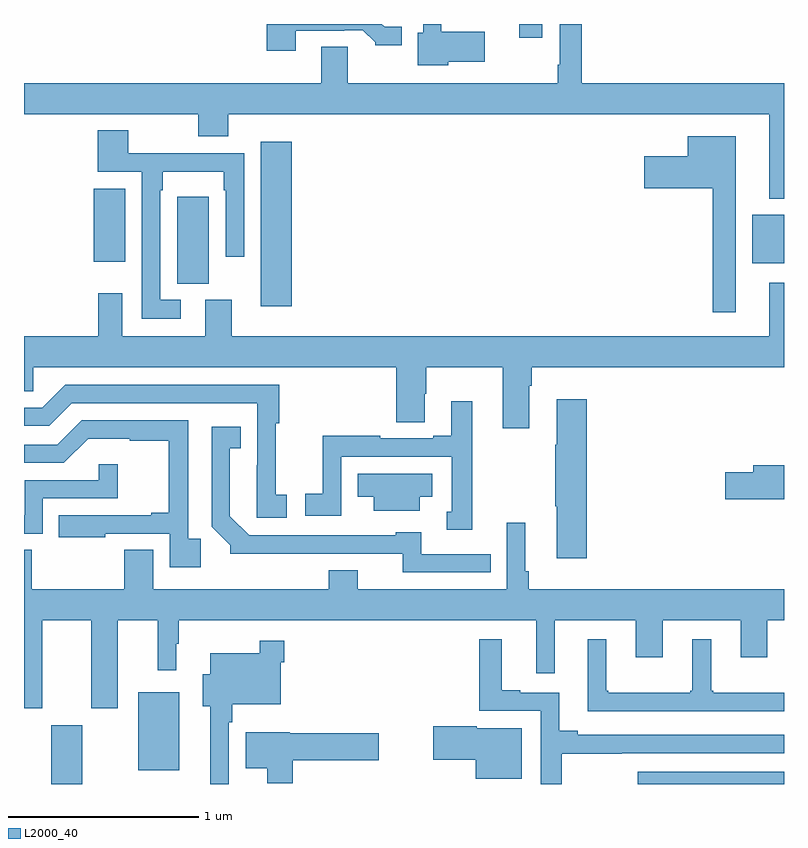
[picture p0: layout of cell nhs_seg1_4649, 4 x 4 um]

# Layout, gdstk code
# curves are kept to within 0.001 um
import gdstk
lib = gdstk.Library(unit=1e-6, precision=1e-09)
def R(c, l, rs):  # rectangles x0, y0, x1, y1
    for r in rs: c.add(gdstk.rectangle(r[:2], r[2:], *l))
def P(c, l, *ps):  # polygons
    for p in ps: c.add(gdstk.Polygon(p, *l))
L2000_40 = (2000, 40)

nhs_seg1_4649 = lib.new_cell('nhs_seg1_4649')
R(nhs_seg1_4649, L2000_40, [(363.143,556.199,363.307,556.507), (366.231,556.199,367,556.263), (363.602,556.271,363.817,556.681), (364.247,558.714,364.409,559.579), (363.806,558.833,363.973,559.291), (366.833,558.941,367,559.195), (363.368,558.947,363.532,559.333), (365.606,560.127,365.728,560.199)])
P(nhs_seg1_4649, L2000_40, [(367,559.888),(365.936,559.888),(365.936,560.199),(365.82,560.199),(365.82,559.984),(365.808,559.984),(365.808,559.888),(364.705,559.888),(364.705,560.078),(364.565,560.078),(364.565,559.888),(363,559.888),(363,559.724),(363.916,559.724),(363.916,559.607),(364.076,559.607),(364.076,559.724),(366.923,559.724),(366.923,559.28),(367,559.28)],
  [(365.232,560),(365.425,560),(365.425,560.158),(365.196,560.158),(365.196,560.199),(365.1,560.199),(365.1,560.154),(365.072,560.154),(365.072,559.982),(365.232,559.982)],
  [(364.429,560.163),(364.685,560.163),(364.685,560.166),(364.784,560.166),(364.848,560.102),(364.848,560.087),(364.987,560.087),(364.987,560.184),(364.899,560.184),(364.884,560.199),(364.277,560.199),(364.277,560.058),(364.429,560.058)],
  [(363.826,558.748),(363.717,558.748),(363.717,559.325),(363.73,559.325),(363.73,559.421),(364.05,559.421),(364.05,559.325),(364.062,559.325),(364.062,558.975),(364.158,558.975),(364.158,559.518),(363.814,559.518),(363.814,559.52),(363.549,559.52),(363.549,559.639),(363.389,559.639),(363.389,559.422),(363.621,559.422),(363.621,558.647),(363.826,558.647)],
  [(366.745,559.609),(366.494,559.609),(366.494,559.504),(366.264,559.504),(366.264,559.334),(366.624,559.334),(366.624,558.681),(366.745,558.681)],
  [(365.659,558.296),(365.672,558.296),(365.672,558.392),(367,558.392),(367,558.838),(366.923,558.838),(366.923,558.556),(364.093,558.556),(364.093,558.748),(363.953,558.748),(363.953,558.556),(363.517,558.556),(363.517,558.781),(363.392,558.781),(363.392,558.556),(363,558.556),(363,558.265),(363.048,558.265),(363.048,558.392),(364.958,558.392),(364.958,558.103),(365.11,558.103),(365.11,558.254),(365.118,558.254),(365.118,558.392),(365.519,558.392),(365.519,558.072),(365.659,558.072)],
  [(364.384,557.721),(364.326,557.721),(364.326,558.097),(364.343,558.097),(364.343,558.3),(363.216,558.3),(363.096,558.18),(363,558.18),(363,558.084),(363.132,558.084),(363.252,558.204),(364.227,558.204),(364.226,557.601),(364.384,557.601)],
  [(365.963,558.223),(365.804,558.223),(365.804,557.984),(365.797,557.984),(365.797,557.662),(365.804,557.662),(365.804,557.388),(365.963,557.388)],
  [(365.359,558.214),(365.249,558.214),(365.249,558.031),(365.153,558.031),(365.153,558.018),(364.874,558.018),(364.874,558.031),(364.573,558.031),(364.573,557.726),(364.479,557.726),(364.479,557.61),(364.671,557.61),(364.671,557.922),(365.25,557.922),(365.25,557.631),(365.225,557.631),(365.225,557.537),(365.359,557.537)],
  [(363.929,557.491),(363.864,557.491),(363.864,558.114),(363.303,558.114),(363.174,557.985),(363,557.985),(363,557.889),(363.21,557.889),(363.338,558.017),(363.557,558.017),(363.557,558.006),(363.763,558.006),(363.763,557.626),(363.671,557.626),(363.671,557.613),(363.184,557.613),(363.184,557.498),(363.427,557.498),(363.427,557.517),(363.768,557.517),(363.768,557.34),(363.929,557.34)],
  [(365.456,557.409),(365.092,557.409),(365.092,557.524),(364.956,557.524),(364.956,557.508),(364.185,557.508),(364.084,557.609),(364.084,557.966),(364.142,557.966),(364.142,558.079),(363.987,558.079),(363.987,557.554),(364.086,557.455),(364.086,557.411),(364.993,557.412),(364.993,557.313),(365.456,557.313)],
  [(363.099,557.703),(363.494,557.703),(363.494,557.881),(363.393,557.881),(363.393,557.799),(363.003,557.799),(363.003,557.613),(363,557.613),(363,557.517),(363.099,557.517)],
  [(367,557.876),(366.839,557.876),(366.839,557.84),(366.69,557.84),(366.69,557.698),(367,557.698)],
  [(365.083,557.711),(365.149,557.711),(365.149,557.833),(364.756,557.833),(364.756,557.711),(364.841,557.711),(364.841,557.636),(365.083,557.636)],
  [(363.097,557.06),(363.353,557.06),(363.353,556.599),(363.493,556.599),(363.493,557.06),(363.704,557.06),(363.704,556.797),(363.802,556.797),(363.802,556.937),(363.814,556.937),(363.814,557.06),(365.696,557.06),(365.696,556.782),(365.794,556.782),(365.794,557.06),(366.221,557.06),(366.221,556.866),(366.361,556.866),(366.361,557.06),(366.773,557.06),(366.773,556.866),(366.913,556.866),(366.913,557.06),(367,557.06),(367,557.224),(365.657,557.224),(365.657,557.32),(365.638,557.32),(365.638,557.575),(365.541,557.575),(365.541,557.224),(364.756,557.224),(364.756,557.323),(364.604,557.323),(364.604,557.224),(363.679,557.224),(363.679,557.432),(363.527,557.432),(363.527,557.224),(363.041,557.224),(363.041,557.432),(363,557.432),(363,556.599),(363.097,556.599)],
  [(365.83,556.357),(366.146,556.357),(366.146,556.362),(367,556.362),(367,556.458),(365.914,556.458),(365.914,556.478),(365.818,556.478),(365.818,556.68),(365.611,556.68),(365.611,556.693),(365.515,556.693),(365.515,556.96),(365.397,556.96),(365.397,556.584),(365.721,556.584),(365.721,556.199),(365.83,556.199)],
  [(367,556.679),(366.628,556.679),(366.628,556.69),(366.616,556.69),(366.616,556.96),(366.518,556.96),(366.518,556.69),(366.507,556.69),(366.507,556.679),(366.076,556.679),(366.076,556.69),(366.064,556.69),(366.064,556.96),(365.966,556.96),(365.966,556.581),(367,556.581)],
  [(364.077,556.523),(364.097,556.523),(364.097,556.619),(364.35,556.619),(364.35,556.841),(364.37,556.841),(364.37,556.954),(364.242,556.954),(364.242,556.888),(363.98,556.888),(363.98,556.777),(363.941,556.777),(363.941,556.607),(363.98,556.607),(363.98,556.199),(364.077,556.199)],
  [(365.62,556.492),(365.382,556.492),(365.382,556.504),(365.154,556.504),(365.154,556.327),(365.378,556.327),(365.378,556.226),(365.62,556.226)],
  [(364.415,556.324),(364.867,556.324),(364.867,556.466),(364.398,556.466),(364.398,556.471),(364.166,556.471),(364.166,556.283),(364.28,556.283),(364.28,556.202),(364.415,556.202)])

lib.write_gds('nhs_seg1_4649.gds')
